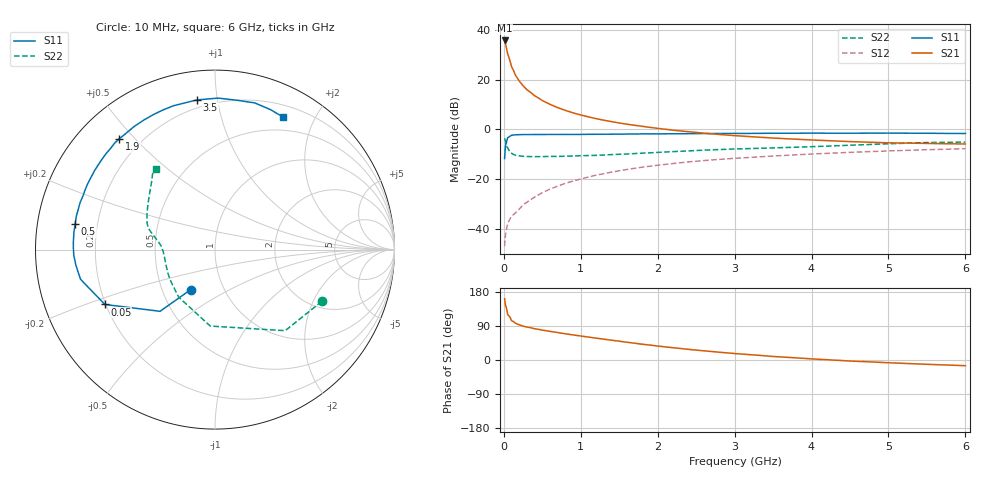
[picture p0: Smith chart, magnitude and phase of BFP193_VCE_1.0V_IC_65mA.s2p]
! (c) 2017  Infineon Technologies AG, Munich
! Infineon Technologies  Discrete & RF Semiconductors
! BFP193
! VCE =  1.0 V,  IC =  65 mA
! Common Emitter S-Parameters:  Jan 2017
# GHz  S  MA  R  50
!  f  S11  S21  S12  S22
! GHz  MAG  ANG  MAG  ANG  MAG  ANG  MAG  ANG
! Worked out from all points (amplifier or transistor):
!   77 points, 10 MHz to 6 GHz, reference 50 ohm
!   highest |S21| = 35.8 dB at 10 MHz (marker M1)
!   |S21| within 3 dB of that: start of sweep to 33.66 MHz
!   unconditionally stable (mu >= 1): 227.3 MHz to end of sweep
!   at 130 MHz: K = 0.82, MSG = 28.8 dB, |S12| = -34.1 dB
!   at 2.2 GHz: K = 1.07, MAG = 5.1 dB, |S12| = -13.7 dB
!   at 6 GHz: K = 1.04, MAG = -0.3 dB, |S12| = -7.7 dB
!   S11 on the Smith chart (normalised r, x): 10 MHz: 0.70, -0.33; 50 MHz: 0.20, -0.23; 500 MHz: 0.12, +0.09; 1.9 GHz: 0.12, +0.45; 3.5 GHz: 0.15, +0.88; 6 GHz: 0.33, +1.59
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0.01  0.2604 -121.2  61.67 161.3  0.0045 71.9  0.6616 -25.8
0.02  0.4604 -131.7  54.63 145.9  0.0073 66.8  0.5976 -49.1
0.05  0.6855 -153.5  32.92 119.6  0.0128 48.5  0.4268 -93.5
0.1  0.7673 -167.6  18.35 103.9  0.0179 51.7  0.3333 -127.4
0.15  0.7804 -173.8  12.47 97.2  0.0209 55.9  0.3044 -143.2
0.2  0.7871 -177.6  9.436 92.8  0.0251 59.4  0.2946 -152.4
0.25  0.7892 179.4  7.567 89.4  0.0302 62.5  0.2887 -158.0
0.3  0.7903 177.1  6.318 87.0  0.0345 65.0  0.2861 -162.5
0.4  0.7918 173.2  4.77 82.5  0.0436 67.3  0.2844 -167.8
0.5  0.7921 169.7  3.822 78.9  0.0534 67.4  0.2847 -171.6
0.6  0.7947 166.5  3.204 75.5  0.0633 67.6  0.2873 -174.4
0.7  0.7942 163.8  2.754 72.5  0.0724 68.2  0.2872 -176.7
0.9  0.7939 157.9  2.158 66.2  0.0918 66.4  0.2927 -180.0
1.1  0.7988 152.3  1.791 60.5  0.1108 64.4  0.2992 177.1
1.5  0.806 141.5  1.35 49.6  0.1476 59.0  0.3172 172.4
1.9  0.8158 130.8  1.101 39.4  0.1826 53.3  0.3395 168.7
2.1  0.8173 125.6  1.01 34.6  0.1986 50.4  0.3523 166.9
3.1  0.8336 104.2  0.735 15.6  0.2686 36.1  0.4092 157.7
3.5  0.84 96.8  0.672 9.3  0.2925 31.2  0.4258 152.9
4.1  0.8425 87.3  0.606 1.8  0.3256 23.6  0.4564 144.6
5.1  0.8443 73.6  0.536 -8.0  0.3743 11.6  0.5214 132.5
6  0.8303 62.8  0.51 -15.0  0.4109 1.5  0.5576 126.1
